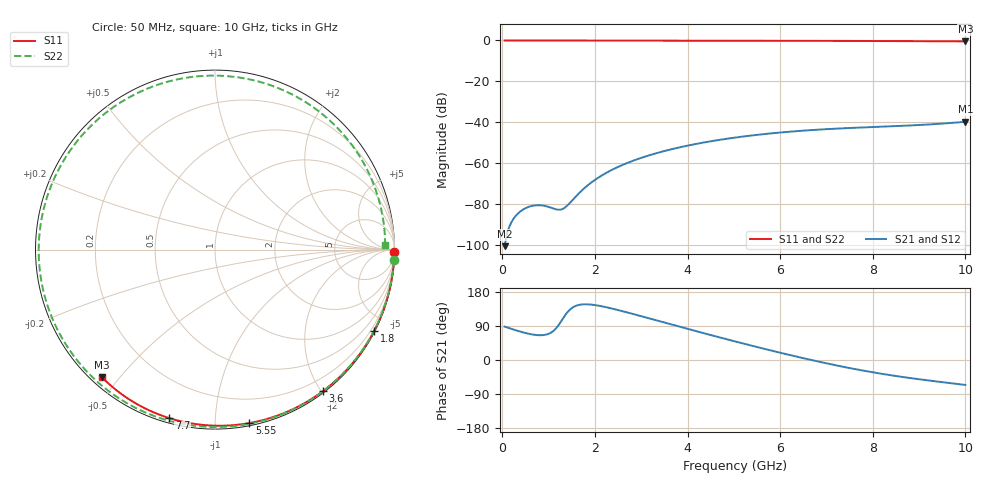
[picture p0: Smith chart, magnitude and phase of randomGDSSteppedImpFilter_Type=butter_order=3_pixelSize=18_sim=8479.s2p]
! freq	dB(S11)	phase(S11)	dB(S12)	phase(S12)
!  dB(S21)	phase(S21)	dB(S22)	phase(S22)
!S-par simulation data
#  GHz  S  DB  R 50
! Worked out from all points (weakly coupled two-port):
!   200 points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, 50 MHz to 10 GHz, reference 50 ohm
!   highest |S21| = -39.68 dB at 10 GHz (marker M1); lowest = -100.4 dB at 50 MHz (marker M2)
!   lowest |S11| = -0.4 dB at 10 GHz (marker M3), VSWR 39.03, Z = 1.54 - j22.4 ohm
!   |S11| at or under -10 dB: nowhere
!   |S22| runs from -0.5 to 0.0 dB; largest |S21 - S12| = 0
!   S11 on the Smith chart (normalised r, x): 50 MHz: open; 1.8 GHz: 0.04, -4.17; 3.6 GHz: 0.02, -2.02; 5.55 GHz: 0.02, -1.22; 7.7 GHz: 0.02, -0.76; 10 GHz: 0.03, -0.45
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0.05  -0.00 -0.8  -100.37 88.0  -100.37 88.0  -0.00 -3.4
0.45  -0.01 -6.8  -82.47 72.8  -82.47 72.8  -0.04 -29.8
0.9  -0.02 -13.6  -80.65 65.9  -80.65 65.9  -0.07 -57.7
1.15  -0.02 -17.3  -82.33 82.1  -82.33 82.1  -0.08 -72.1
1.4  -0.03 -21.1  -80.64 125.1  -80.64 125.1  -0.09 -85.6
1.75  -0.03 -26.3  -72.52 146.9  -72.52 146.9  -0.11 -102.9
1.8  -0.03 -27.0  -71.53 147.1  -71.53 147.1  -0.11 -105.2
2.15  -0.04 -32.1  -65.85 141.7  -65.85 141.7  -0.12 -120.7
2.6  -0.05 -38.6  -60.70 128.7  -60.70 128.7  -0.13 -138.7
3  -0.06 -44.3  -57.28 115.6  -57.28 115.6  -0.14 -153.2
3.4  -0.07 -50.0  -54.54 102.2  -54.54 102.2  -0.14 -166.6
3.6  -0.07 -52.8  -53.37 95.5  -53.37 95.5  -0.15 -173.0
4.3  -0.09 -62.4  -49.99 72.3  -49.99 72.3  -0.17 165.7
5.05  -0.11 -72.3  -47.32 48.2  -47.32 48.2  -0.20 144.0
5.55  -0.13 -78.8  -45.93 32.7  -45.93 32.7  -0.22 129.9
6.15  -0.15 -86.4  -44.62 14.8  -44.62 14.8  -0.24 112.9
6.7  -0.18 -93.2  -43.69 -0.7  -43.69 -0.7  -0.26 97.2
7.2  -0.21 -99.3  -43.04 -13.9  -43.04 -13.9  -0.28 82.8
7.7  -0.24 -105.2  -42.52 -25.9  -42.52 -25.9  -0.30 68.3
8.35  -0.29 -112.8  -41.93 -39.5  -41.93 -39.5  -0.33 49.2
9.2  -0.36 -122.6  -41.00 -54.0  -41.00 -54.0  -0.38 24.4
10  -0.45 -131.6  -39.68 -65.8  -39.68 -65.8  -0.46 1.6
